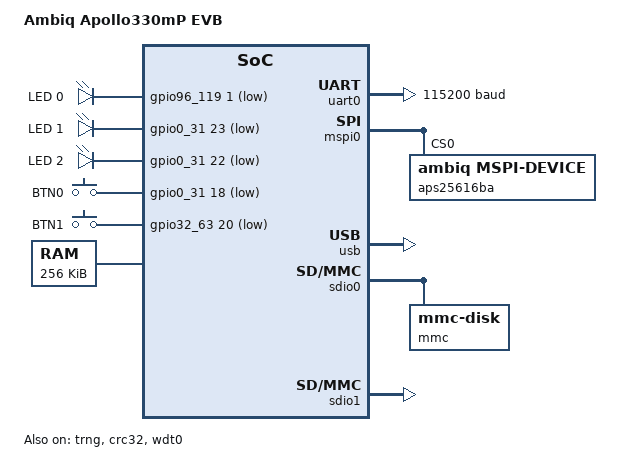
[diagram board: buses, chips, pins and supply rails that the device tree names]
/*
 * Copyright (c) 2026 Ambiq Micro Inc. <www.ambiq.com>
 *
 * SPDX-License-Identifier: Apache-2.0
 */

/dts-v1/;
#include <ambiq/ambiq_apollo330P.dtsi>
#include <zephyr/dt-bindings/input/input-event-codes.h>

#include "apollo330mP_evb-pinctrl.dtsi"

/ {
	model = "Ambiq Apollo330mP EVB";
	compatible = "ambiq,apollo330mP_evb";

	chosen {
		zephyr,dtcm = &dtcm;
		zephyr,sram = &sram0;
		zephyr,flash = &flash0;
		zephyr,flash-controller = &flash;
		zephyr,code-partition = &slot0_partition;
		zephyr,console = &uart0;
		zephyr,uart-mcumgr = &uart0;
		zephyr,shell-uart = &uart0;
		zephyr,uart-pipe = &uart0;
		zephyr,entropy = &trng;
		ambiq,xo48m = &xo48m_xtal;
		ambiq,xo32k = &xo32k_xtal;
		ambiq,extrefclk = &extrefclk;
		zephyr,crc = &crc32;
	};

	aliases {
		watchdog0 = &wdt0;
		sdhc0 = &sdio0;
		led0 = &led0;
		led1 = &led1;
		led2 = &led2;
		sw0 = &button0;
		sw1 = &button1;
		pwm-led0 = &pwm_led0;
		ambiq-psram = &aps25616ba;
		ambiq-external-ram-region = &xip0;
		crc0 = &crc32;
	};

	leds {
		compatible = "gpio-leds";

		led0: led_0 {
			gpios = <&gpio96_119 1 GPIO_ACTIVE_LOW>;
			label = "LED 0";
		};

		led1: led_1 {
			gpios = <&gpio0_31 23 GPIO_ACTIVE_LOW>;
			label = "LED 1";
		};

		led2: led_2 {
			gpios = <&gpio0_31 22 GPIO_ACTIVE_LOW>;
			label = "LED 2";
		};
	};

	buttons {
		compatible = "gpio-keys";

		button0: button_0 {
			gpios = <&gpio0_31 18 (GPIO_PULL_UP | GPIO_ACTIVE_LOW)>;
			label = "BTN0";
			zephyr,code = <INPUT_KEY_0>;
		};

		button1: button_1 {
			gpios = <&gpio32_63 20 (GPIO_PULL_UP | GPIO_ACTIVE_LOW)>;
			label = "BTN1";
			zephyr,code = <INPUT_KEY_1>;
		};
	};

	pwmleds: pwmleds {
		compatible = "pwm-leds";
		status = "disabled";

		pwm_led0: pwm_led_0 {
			pwms = <&pwm2 0 PWM_MSEC(20) PWM_POLARITY_NORMAL>;
			label = "PWM_LED";
		};
	};

	sram0: memory@SSRAM_BASE_NAME {
		compatible = "mmio-sram";
		reg = <SSRAM_BASE_ADDR 0x180000>;
	};

	sram_no_cache: memory@20200000 {
		compatible = "zephyr,memory-region", "mmio-sram";
		reg = <0x20200000 0x40000>;
		zephyr,memory-region = "SRAM_NO_CACHE";
		zephyr,memory-attr = <DT_MEM_ARM(ATTR_MPU_RAM_NOCACHE)>;

		#address-cells = <1>;
		#size-cells = <1>;
		ranges;

	};
};

&trng {
	status = "okay";
};

&crc32 {
	status = "okay";
};

&xo48m_xtal {
	clock-frequency = <DT_FREQ_M(48)>;
};

&xo48m_ext {
	clock-frequency = <0>;
};

&xo32k_xtal {
	clock-frequency = <32768>;
};

&xo32k_ext {
	clock-frequency = <0>;
};

&extrefclk {
	clock-frequency = <0>;
};

&itm {
	pinctrl-0 = <&swo_default>;
	pinctrl-names = "default";
};

&adc0 {
	pinctrl-0 = <&adc0_default>;
	pinctrl-names = "default";
	status = "disabled";
};

&timer0 {
	counter0: counter {
		status = "disabled";
	};
};

&timer2 {
	pwm2: pwm {
		pinctrl-0 = <&pwm2_default>;
		pinctrl-names = "default";
		status = "disabled";
	};
};

&rtc0 {
	status = "disabled";
	clock = "XTAL";
};

&uart0 {
	current-speed = <115200>;
	pinctrl-0 = <&uart0_default>;
	pinctrl-1 = <&uart0_sleep>;
	pinctrl-names = "default", "sleep";
	status = "okay";
};

&iom0 {
	spi0: spi {
		pinctrl-0 = <&spi0_default>;
		pinctrl-1 = <&spi0_sleep>;
		pinctrl-names = "default", "sleep";
		cs-gpios = <&gpio0_31 17 GPIO_ACTIVE_LOW>;
		clock-frequency = <DT_FREQ_M(1)>;
		status = "disabled";
	};

	i2c0: i2c {
		pinctrl-0 = <&i2c0_default>;
		pinctrl-1 = <&i2c0_sleep>;
		pinctrl-names = "default", "sleep";
		clock-frequency = <I2C_BITRATE_STANDARD>;
		status = "disabled";
	};
};

&iom1 {
	spi1: spi {
		pinctrl-0 = <&spi1_default>;
		pinctrl-1 = <&spi1_sleep>;
		pinctrl-names = "default", "sleep";
		cs-gpios = <&gpio0_31 24 GPIO_ACTIVE_LOW>;
		clock-frequency = <DT_FREQ_M(1)>;
		status = "disabled";
	};

	i2c1: i2c {
		pinctrl-0 = <&i2c1_default>;
		pinctrl-1 = <&i2c1_sleep>;
		pinctrl-names = "default", "sleep";
		clock-frequency = <I2C_BITRATE_STANDARD>;
		status = "disabled";
	};
};

&iom2 {
	i2c2: i2c {
		pinctrl-0 = <&i2c2_default>;
		pinctrl-1 = <&i2c2_sleep>;
		pinctrl-names = "default", "sleep";
		clock-frequency = <I2C_BITRATE_STANDARD>;
		status = "disabled";
	};
};

&iom3 {
	spi3: spi {
		pinctrl-0 = <&spi3_default>;
		pinctrl-1 = <&spi3_sleep>;
		pinctrl-names = "default", "sleep";
		cs-gpios = <&gpio96_119 22 GPIO_ACTIVE_LOW>;
		clock-frequency = <DT_FREQ_M(1)>;
		status = "disabled";
	};

	i2c3: i2c {
		pinctrl-0 = <&i2c3_default>;
		pinctrl-1 = <&i2c3_sleep>;
		pinctrl-names = "default", "sleep";
		clock-frequency = <I2C_BITRATE_STANDARD>;
		status = "disabled";
	};
};

&iom4 {
	spi4: spi {
		pinctrl-0 = <&spi4_default>;
		pinctrl-1 = <&spi4_sleep>;
		pinctrl-names = "default", "sleep";
		cs-gpios = <&gpio96_119 10 GPIO_ACTIVE_LOW>;
		clock-frequency = <DT_FREQ_M(1)>;
		status = "disabled";
	};

	i2c4: i2c {
		pinctrl-0 = <&i2c4_default>;
		pinctrl-1 = <&i2c4_sleep>;
		pinctrl-names = "default", "sleep";
		clock-frequency = <I2C_BITRATE_STANDARD>;
		status = "disabled";
	};
};

&stimer0 {
	clk-source = <3>;
};

&wdt0 {
	status = "okay";
};

&mspi0 {
	pinctrl-0 = <&mspi0_default>;
	pinctrl-1 = <&mspi0_sleep>;
	pinctrl-2 = <&mspi0_psram>;
	pinctrl-names = "default", "sleep", "psram";
	status = "okay";
	zephyr,pm-device-runtime-auto;

	ce-gpios = <&gpio64_95 14 GPIO_ACTIVE_LOW>;

	cmdq-buffer-location = "SRAM_NO_CACHE";
	cmdq-buffer-size = <256>;

	ambiq,apmemory;

	dqs-support;

	aps25616ba: aps_z8@0 {
		compatible = "ambiq,mspi-device", "aps-z8";
		size = <DT_SIZE_M(256)>;
		reg = <0>;
		status = "okay";
		mspi-max-frequency = <125000000>;
		mspi-io-mode = "MSPI_IO_MODE_HEX_8_8_16";
		mspi-data-rate = "MSPI_DATA_RATE_S_D_D";
		mspi-hardware-ce-num = <0>;
		mspi-dqs-enable;
		read-command = <0x20>;
		write-command = <0xa0>;
		command-length = "INSTR_1_BYTE";
		address-length = "ADDR_4_BYTE";
		rx-dummy = <5>;
		tx-dummy = <5>;
		memmap-config = <1 0 DT_SIZE_M(32) 0>;
		ce-break-config = <1024 4>;
		ambiq,timing-config-mask = <0x62>;
		ambiq,timing-config = <5 5 1 0 0 3 8>;
		zephyr,pm-device-runtime-auto;
	};
};

zephyr_udc0: &usb {
	vddusb33-gpios = <&gpio96_119 9 GPIO_PULL_UP>;
	status = "okay";
};

&gpio0_31 {
	status = "okay";
};

&gpio32_63 {
	status = "okay";
};

&gpio64_95 {
	status = "okay";
};

&gpio96_119 {
	status = "okay";
};

&flash0 {
	// By default, the flash write block size is 16 bytes, But if the cache is enabled,
	// the write block size needs to be 32 bytes to match the cache line size.
	write-block-size = <32>;

	partitions {
		compatible = "fixed-partitions";
		#address-cells = <1>;
		#size-cells = <1>;

		boot_partition: partition@0 {
			label = "mcuboot";
			reg = <0x00000000 DT_SIZE_K(256)>;
		};

		slot0_partition: partition@40000 {
			label = "image-0";
			reg = <0x40000 DT_SIZE_K(512)>;
		};

		slot1_partition: partition@c0000 {
			label = "image-1";
			reg = <0xc0000 DT_SIZE_K(512)>;
		};

		scratch_partition: partition@140000 {
			label = "image-scratch";
			reg = <0x140000 DT_SIZE_K(32)>;
		};

		storage_partition: partition@148000 {
			label = "storage";
			reg = <0x148000 DT_SIZE_K(32)>;
		};
	};
};

&sdio0 {
	pinctrl-0 = <&sdio0_default>;
	pinctrl-names = "default";
	txdelay = <0>;
	rxdelay = <0>;
	status = "okay";

	mmc {
		compatible = "zephyr,mmc-disk";
		disk-name = "SD2";
		status = "okay";
	};
};

&sdio1 {
	pinctrl-0 = <&sdio1_default>;
	pinctrl-names = "default";
	txdelay = <9>;
	rxdelay = <11>;
	status = "okay";
};

&pdm0 {
	pinctrl-0 = <&pdm0_default>;
	pinctrl-names = "default";
	status = "disabled";
};

&i2s0 {
	pinctrl-0 = <&i2s0_default>;
	pinctrl-names = "default";
	status = "disabled";
};
